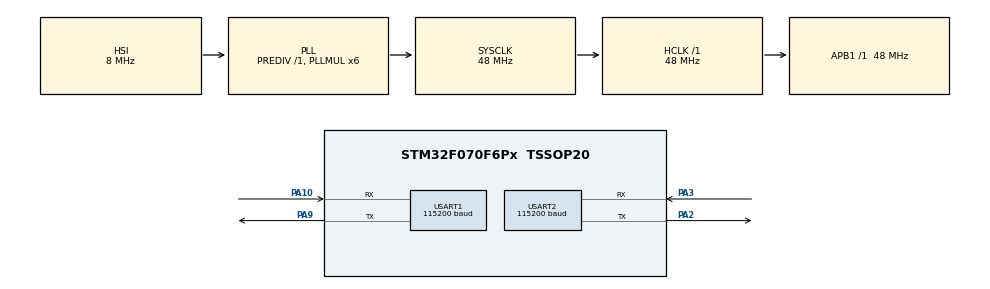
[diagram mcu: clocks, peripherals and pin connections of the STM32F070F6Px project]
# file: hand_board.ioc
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Dma.Request0=USART2_RX
Dma.USART2_RX.0.Direction=DMA_PERIPH_TO_MEMORY
Dma.USART2_RX.0.Instance=DMA1_Channel5
Dma.USART2_RX.0.MemDataAlignment=DMA_MDATAALIGN_BYTE
Dma.USART2_RX.0.MemInc=DMA_MINC_ENABLE
Dma.USART2_RX.0.Mode=DMA_NORMAL
Dma.USART2_RX.0.PeriphDataAlignment=DMA_PDATAALIGN_BYTE
Dma.USART2_RX.0.PeriphInc=DMA_PINC_DISABLE
Dma.USART2_RX.0.Priority=DMA_PRIORITY_HIGH
Mcu.Family=STM32F0
Mcu.Name=STM32F070F6Px
Mcu.Package=TSSOP20
NVIC.DMA1_Channel4_5_IRQn=true\:0\:0\:false\:false\:true\:false\:true\:true
NVIC.USART2_IRQn=true\:0\:0\:false\:false\:true\:true\:true\:true
PA10.Mode=Asynchronous
PA10.Signal=USART1_RX
PA2.Mode=Asynchronous
PA2.Signal=USART2_TX
PA3.GPIO_ModeDefaultPP=GPIO_MODE_AF_OD
PA3.Mode=Asynchronous
PA3.Signal=USART2_RX
PA9.Mode=Asynchronous
PA9.Signal=USART1_TX
PF0-OSC_IN.Mode=HSE-External-Oscillator
PF0-OSC_IN.Signal=RCC_OSC_IN
PF1-OSC_OUT.Mode=HSE-External-Oscillator
PF1-OSC_OUT.Signal=RCC_OSC_OUT
ProjectManager.HeapSize=0x200
ProjectManager.StackSize=0x400
ProjectManager.TargetToolchain=MDK-ARM V5.32
RCC.AHBFreq_Value=48000000
RCC.APB1Freq_Value=48000000
RCC.APB1TimFreq_Value=48000000
RCC.HCLKFreq_Value=48000000
RCC.PLLMUL=RCC_PLL_MUL6
RCC.PLLSourceVirtual=RCC_PLLSOURCE_HSE
RCC.SYSCLKFreq_VALUE=48000000
RCC.SYSCLKSource=RCC_SYSCLKSOURCE_PLLCLK
USART1.BaudRate=115200
USART1.VirtualMode=VM_ASYNC
USART2.BaudRate=115200
USART2.VirtualMode-Asynchronous=VM_ASYNC
board=custom

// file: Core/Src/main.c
/* USER CODE BEGIN Header */
/**
  ******************************************************************************
  * @file           : main.c
  * @brief          : Main program body
  ******************************************************************************
  * @attention
  *
  * Copyright (c) 2022 STMicroelectronics.
  * All rights reserved.
  *
  * This software is licensed under terms that can be found in the LICENSE file
  * in the root directory of this software component.
  * If no LICENSE file comes with this software, it is provided AS-IS.
  *
  ******************************************************************************
  */
/* USER CODE END Header */
#include "main.h"
#include "dma.h"
#include "usart.h"
#include "gpio.h"

/* USER CODE BEGIN PTD */
#include "global.h"
#include "flash_if.h"
#include "ymodem.h"
/* USER CODE END PTD */

/* USER CODE BEGIN PD */
#define BOOT_VER	102
#define BOOT_INDEX	3
#define PRODUCTION_INDEX	2
#define SN_INDEX	1
#define CONFIG_INDEX	0
/* USER CODE END PD */

/* USER CODE BEGIN PV */

extern pFunction JumpToApplication;
extern uint32_t JumpAddress;

/* xbin 头文件 */
AppHeader_t AppHeader;
//uint32_t cfg[CFG_SIZE] = {0};
/* USER CODE END PV */

void SystemClock_Config(void);

/* USER CODE BEGIN 0 */
uint16_t pagesIndex = 0;
#define RAM_ADDRESS_START 0x20000000
#define BOOT_VERSION     (0x0300) //boot版本0300，方便判断代码是否版本正确
/* USER CODE END 0 */

int main(void)
{
  /* USER CODE BEGIN 1 */
//	__disable_irq();
	AppHeader.magicName = *(__IO uint32_t*)APP_UPGRADE_ADDRESS;
	AppHeader.entryPointAddr = APPLICATION_ADDRESS;

	if (AppHeader.magicName != APP_UPGREQ_IS_VALID) {
		/* Jump to user application */
		JumpAddress = *(__IO uint32_t*) (AppHeader.entryPointAddr + 4);
		JumpToApplication = (pFunction) JumpAddress;
		/* Initialize user application's Stack Pointer */
		__set_MSP(*(__IO uint32_t*) AppHeader.entryPointAddr);
		JumpToApplication();
	}
  /* USER CODE END 1 */

  /* MCU Configuration--------------------------------------------------------*/

  /* Reset of all peripherals, Initializes the Flash interface and the Systick. */
  HAL_Init();

  /* Configure the system clock */
  SystemClock_Config();

  /* Initialize all configured peripherals */
  MX_GPIO_Init();
  MX_USART2_UART_Init();
  MX_USART1_UART_Init();
//	__enable_irq();
  /* USER CODE BEGIN 2 */
	/* If Key is pressed, execute the IAP driver in order to re-program the Flash */
	FLASH_If_Init();
	/* 擦除扇区：APP Lication */

	HAL_FLASH_Unlock();
	FLASH_If_Erase(APPLICATION_ADDRESS, USER_FLASH_END_ADDRESS);
	HAL_FLASH_Lock();
	printf("enter boot!\r\n");
	/* Download user application in the Flash */

	SerialDownload();
  /* USER CODE END 2 */

  /* Infinite loop */
  while (1)
  {

  }
}

void SystemClock_Config(void)
{
  RCC_OscInitTypeDef RCC_OscInitStruct = {0};
  RCC_ClkInitTypeDef RCC_ClkInitStruct = {0};
  RCC_PeriphCLKInitTypeDef PeriphClkInit = {0};

  /** Initializes the RCC Oscillators according to the specified parameters
  * in the RCC_OscInitTypeDef structure.
  */

	RCC_OscInitStruct.OscillatorType = RCC_OSCILLATORTYPE_HSI|RCC_OSCILLATORTYPE_HSI14;
  RCC_OscInitStruct.HSIState = RCC_HSI_ON;
  RCC_OscInitStruct.HSI14State = RCC_HSI14_ON;
  RCC_OscInitStruct.HSICalibrationValue = RCC_HSICALIBRATION_DEFAULT;
  RCC_OscInitStruct.HSI14CalibrationValue = 16;
  RCC_OscInitStruct.PLL.PLLState = RCC_PLL_ON;
  RCC_OscInitStruct.PLL.PLLSource = RCC_PLLSOURCE_HSI;
  RCC_OscInitStruct.PLL.PLLMUL = RCC_PLL_MUL6;
  RCC_OscInitStruct.PLL.PREDIV = RCC_PREDIV_DIV1;
  if (HAL_RCC_OscConfig(&RCC_OscInitStruct) != HAL_OK)
  {
    Error_Handler();
  }

  /** Initializes the CPU, AHB and APB buses clocks
  */
  RCC_ClkInitStruct.ClockType = RCC_CLOCKTYPE_HCLK|RCC_CLOCKTYPE_SYSCLK
                              |RCC_CLOCKTYPE_PCLK1;
  RCC_ClkInitStruct.SYSCLKSource = RCC_SYSCLKSOURCE_PLLCLK;
  RCC_ClkInitStruct.AHBCLKDivider = RCC_SYSCLK_DIV1;
  RCC_ClkInitStruct.APB1CLKDivider = RCC_HCLK_DIV1;

  if (HAL_RCC_ClockConfig(&RCC_ClkInitStruct, FLASH_LATENCY_1) != HAL_OK)
  {
    Error_Handler();
  }
  PeriphClkInit.PeriphClockSelection = RCC_PERIPHCLK_USART1;
  PeriphClkInit.Usart1ClockSelection = RCC_USART1CLKSOURCE_PCLK1;
  if (HAL_RCCEx_PeriphCLKConfig(&PeriphClkInit) != HAL_OK)
  {
    Error_Handler();
  }
}

void Error_Handler(void)
{
  __disable_irq();
  while (1)
  {
  }
}
